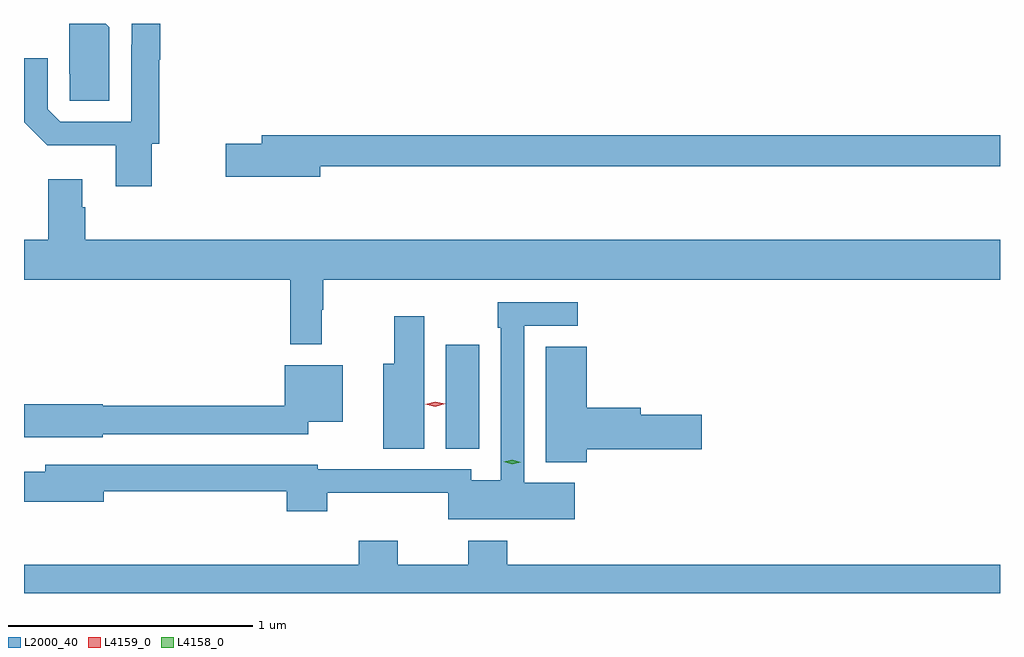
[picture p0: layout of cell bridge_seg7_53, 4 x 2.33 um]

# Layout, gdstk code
import gdstk
lib = gdstk.Library(unit=1e-6, precision=1e-09)
def R(c, l, rs):  # rectangles x0, y0, x1, y1
    for r in rs: c.add(gdstk.rectangle(r[:2], r[2:], *l))
def P(c, l, *ps):  # polygons
    for p in ps: c.add(gdstk.Polygon(p, *l))
L2000_40 = (2000, 40)
L4158_0 = (4158, 0)
L4159_0 = (4159, 0)

bridge_seg7_53 = lib.new_cell('bridge_seg7_53')
R(bridge_seg7_53, L2000_40, [(923.258,998.593,923.395,999.019)])
P(bridge_seg7_53, L2000_40, [(922.053,999.843),(922.085,999.843),(922.085,1000.186),(922.088,1000.186),(922.088,1000.334),(921.972,1000.334),(921.972,1000.247),(921.969,1000.247),(921.969,999.933),(921.678,999.933),(921.627,999.984),(921.627,1000.192),(921.531,1000.192),(921.531,999.93),(921.625,999.836),(921.905,999.836),(921.905,999.669),(922.053,999.669)],
  [(921.879,1000.32),(921.865,1000.334),(921.716,1000.334),(921.716,1000.129),(921.717,1000.129),(921.717,1000.018),(921.879,1000.018)],
  [(922.744,999.75),(925.53,999.75),(925.53,999.878),(922.505,999.878),(922.505,999.842),(922.356,999.842),(922.356,999.707),(922.744,999.707)],
  [(922.75,999.161),(922.757,999.161),(922.757,999.284),(925.53,999.284),(925.53,999.448),(921.782,999.448),(921.782,999.581),(921.769,999.581),(921.769,999.697),(921.629,999.697),(921.629,999.448),(921.53,999.448),(921.53,999.284),(922.621,999.284),(922.621,999.021),(922.75,999.021)],
  [(923.788,998.452),(923.58,998.452),(923.58,999.096),(923.8,999.096),(923.8,999.192),(923.472,999.192),(923.472,999.089),(923.484,999.089),(923.484,998.464),(923.364,998.464),(923.364,998.508),(922.734,998.508),(922.734,998.526),(921.617,998.526),(921.617,998.497),(921.53,998.497),(921.53,998.375),(921.856,998.375),(921.856,998.418),(922.607,998.418),(922.607,998.336),(922.772,998.336),(922.772,998.411),(923.268,998.411),(923.268,998.303),(923.788,998.303)],
  [(923.17,999.136),(923.048,999.136),(923.048,998.941),(923.003,998.941),(923.003,998.593),(923.17,998.593)],
  [(923.836,998.59),(924.307,998.59),(924.307,998.732),(924.058,998.732),(924.058,998.761),(923.836,998.761),(923.836,999.011),(923.669,999.011),(923.669,998.537),(923.836,998.537)],
  [(921.852,998.652),(922.695,998.652),(922.695,998.702),(922.837,998.702),(922.837,998.935),(922.599,998.935),(922.599,998.768),(921.852,998.768),(921.852,998.774),(921.53,998.774),(921.53,998.639),(921.852,998.639)],
  [(925.53,998.116),(923.51,998.116),(923.51,998.215),(923.35,998.215),(923.35,998.116),(923.061,998.116),(923.061,998.215),(922.901,998.215),(922.901,998.116),(921.53,998.116),(921.53,998),(925.53,998)])
P(bridge_seg7_53, L4158_0, [(923.531,998.528),(923.497,998.538),(923.497,998.538),(923.497,998.539),(923.532,998.547),(923.566,998.537),(923.566,998.537),(923.566,998.536)])
P(bridge_seg7_53, L4159_0, [(923.215,998.765),(923.174,998.774),(923.174,998.774),(923.174,998.774),(923.215,998.785),(923.256,998.776),(923.256,998.776),(923.256,998.776)])

lib.write_gds('bridge_seg7_53.gds')
